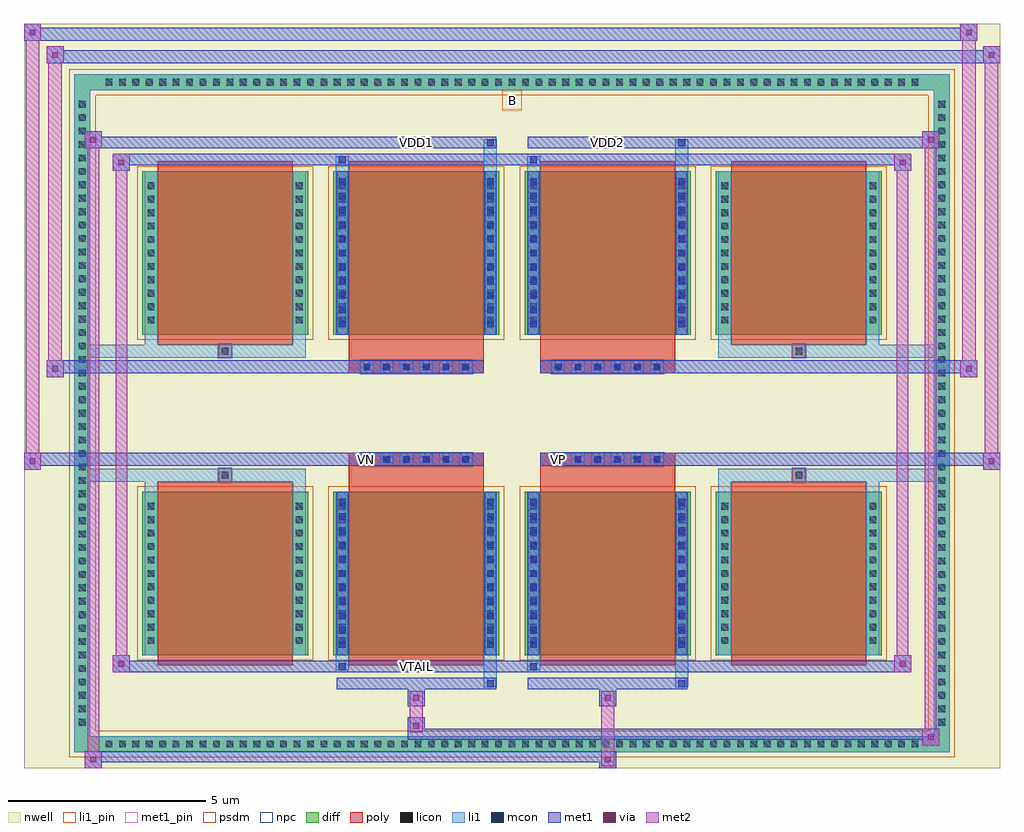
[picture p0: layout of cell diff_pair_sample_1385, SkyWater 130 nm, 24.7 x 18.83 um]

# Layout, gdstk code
import gdstk
lib = gdstk.Library(unit=1e-6, precision=5e-09)
def R(c, l, rs):  # rectangles x0, y0, x1, y1
    for r in rs: c.add(gdstk.rectangle(r[:2], r[2:], *l))
def A(c, l, x, y, w, h, nx, ny, dx, dy):  # array of equal rectangles
    R(c, l, [(x+i*dx, y+j*dy, x+i*dx+w, y+j*dy+h) for i in range(nx) for j in range(ny)])
def P(c, l, *ps):  # polygons
    for p in ps: c.add(gdstk.Polygon(p, *l))
nwell = (64, 20)
diff = (65, 20)
poly = (66, 20)
licon = (66, 44)
li1_pin = (67, 16)
li1 = (67, 20)
mcon = (67, 44)
met1_pin = (68, 16)
met1 = (68, 20)
via = (68, 44)
met2 = (69, 20)
psdm = (94, 20)
npc = (95, 20)

diff_pair_sample_1385 = lib.new_cell('diff_pair_sample_1385')
R(diff_pair_sample_1385, nwell, [(-12.35,-8.98,12.35,9.85), (-9.67,-7.17,-0.01,-0.805), (0.01,-7.17,9.67,-0.805), (-9.67,0.805,-0.01,7.17), (0.01,0.805,9.67,7.17)])
A(diff_pair_sample_1385, diff, -10.405, -8.58, 0.41, 0.41, 61, 2, 0.34, 16.75)
A(diff_pair_sample_1385, diff, -11.08, -8.025, 0.41, 0.41, 1, 47, 0, 0.34)
A(diff_pair_sample_1385, diff, 10.67, -8.025, 0.41, 0.41, 1, 47, 0, 0.34)
A(diff_pair_sample_1385, diff, -9.36, -6.125, 4.2, 4.14, 4, 2, 4.84, 8.11)
R(diff_pair_sample_1385, diff, [(-10.405,-8.58,10.405,-8.17), (-11.08,-8.025,-10.67,8.025), (10.67,-8.025,11.08,8.025), (-10.405,8.17,10.405,8.58)])
P(diff_pair_sample_1385, diff, [(11.08,8.58),(-11.08,8.58),(-11.08,-8.17),(-10.67,-8.17),(-10.67,8.17),(10.67,8.17),(10.67,-8.17),(-10.67,-8.17),(-11.08,-8.17),(-11.08,-8.58),(11.08,-8.58)])
A(diff_pair_sample_1385, poly, -8.97, -6.375, 3.42, 4.64, 4, 2, 4.84, 8.11)
A(diff_pair_sample_1385, poly, -3.835, -1.335, 0.33, 0.33, 6, 2, 0.5, 2.34)
A(diff_pair_sample_1385, poly, 1.005, -1.335, 0.33, 0.33, 6, 2, 0.5, 2.34)
R(diff_pair_sample_1385, poly, [(-7.425,-1.735,-7.095,-1.405), (-7.425,-1.735,-7.095,-1.405), (-4.13,-1.735,-0.71,-1.335), (0.71,-1.735,4.13,-1.335), (7.095,-1.735,7.425,-1.405), (7.095,-1.735,7.425,-1.405), (-4.13,-1.335,-0.71,-1.005), (0.71,-1.335,4.13,-1.005), (-4.13,1.005,-0.71,1.335), (0.71,1.005,4.13,1.335), (-4.13,1.335,-0.71,1.735), (0.71,1.335,4.13,1.735), (-7.425,1.405,-7.095,1.735), (-7.425,1.405,-7.095,1.735), (7.095,1.405,7.425,1.735), (7.095,1.405,7.425,1.735)])
A(diff_pair_sample_1385, licon, -10.285, -8.46, 0.17, 0.17, 61, 2, 0.34, 16.75)
A(diff_pair_sample_1385, licon, -10.96, -7.905, 0.17, 0.17, 1, 47, 0, 0.34)
A(diff_pair_sample_1385, licon, 10.79, -7.905, 0.17, 0.17, 1, 47, 0, 0.34)
A(diff_pair_sample_1385, licon, -9.22, -5.84, 0.17, 0.17, 1, 11, 0, 0.34)
A(diff_pair_sample_1385, licon, -5.47, -5.84, 0.17, 0.17, 1, 11, 0, 0.34)
A(diff_pair_sample_1385, licon, -4.38, -5.84, 0.17, 0.17, 1, 11, 0, 0.34)
A(diff_pair_sample_1385, licon, -0.63, -5.84, 0.17, 0.17, 1, 11, 0, 0.34)
A(diff_pair_sample_1385, licon, 0.46, -5.84, 0.17, 0.17, 1, 11, 0, 0.34)
A(diff_pair_sample_1385, licon, 4.21, -5.84, 0.17, 0.17, 1, 11, 0, 0.34)
A(diff_pair_sample_1385, licon, 5.3, -5.84, 0.17, 0.17, 1, 11, 0, 0.34)
A(diff_pair_sample_1385, licon, 9.05, -5.84, 0.17, 0.17, 1, 11, 0, 0.34)
A(diff_pair_sample_1385, licon, -3.755, -1.255, 0.17, 0.17, 6, 2, 0.5, 2.34)
A(diff_pair_sample_1385, licon, 1.085, -1.255, 0.17, 0.17, 6, 2, 0.5, 2.34)
A(diff_pair_sample_1385, licon, -9.22, 2.27, 0.17, 0.17, 1, 11, 0, 0.34)
A(diff_pair_sample_1385, licon, -5.47, 2.27, 0.17, 0.17, 1, 11, 0, 0.34)
A(diff_pair_sample_1385, licon, -4.38, 2.27, 0.17, 0.17, 1, 11, 0, 0.34)
A(diff_pair_sample_1385, licon, -0.63, 2.27, 0.17, 0.17, 1, 11, 0, 0.34)
A(diff_pair_sample_1385, licon, 0.46, 2.27, 0.17, 0.17, 1, 11, 0, 0.34)
A(diff_pair_sample_1385, licon, 4.21, 2.27, 0.17, 0.17, 1, 11, 0, 0.34)
A(diff_pair_sample_1385, licon, 5.3, 2.27, 0.17, 0.17, 1, 11, 0, 0.34)
A(diff_pair_sample_1385, licon, 9.05, 2.27, 0.17, 0.17, 1, 11, 0, 0.34)
R(diff_pair_sample_1385, licon, [(-7.345,-1.655,-7.175,-1.485), (7.175,-1.655,7.345,-1.485), (-7.345,1.485,-7.175,1.655), (7.175,1.485,7.345,1.655)])
R(diff_pair_sample_1385, li1_pin, [(-0.25,7.67,0.25,8.17)])
A(diff_pair_sample_1385, li1, -10.365, -8.54, 0.33, 0.33, 61, 2, 0.34, 16.75)
A(diff_pair_sample_1385, li1, -11.04, -7.985, 0.33, 0.33, 1, 47, 0, 0.34)
A(diff_pair_sample_1385, li1, 10.71, -7.985, 0.33, 0.33, 1, 47, 0, 0.34)
A(diff_pair_sample_1385, li1, -4.38, -5.94, 0.17, 0.17, 1, 11, 0, 0.36)
A(diff_pair_sample_1385, li1, -0.63, -5.94, 0.17, 0.17, 1, 11, 0, 0.36)
A(diff_pair_sample_1385, li1, 0.46, -5.94, 0.17, 0.17, 1, 11, 0, 0.36)
A(diff_pair_sample_1385, li1, 4.21, -5.94, 0.17, 0.17, 1, 11, 0, 0.36)
A(diff_pair_sample_1385, li1, -9.3, -5.92, 0.33, 0.33, 1, 11, 0, 0.34)
A(diff_pair_sample_1385, li1, -5.55, -5.92, 0.33, 0.33, 1, 11, 0, 0.34)
A(diff_pair_sample_1385, li1, -4.46, -5.92, 0.33, 0.33, 1, 11, 0, 0.34)
A(diff_pair_sample_1385, li1, -0.71, -5.92, 0.33, 0.33, 1, 11, 0, 0.34)
A(diff_pair_sample_1385, li1, 0.38, -5.92, 0.33, 0.33, 1, 11, 0, 0.34)
A(diff_pair_sample_1385, li1, 4.13, -5.92, 0.33, 0.33, 1, 11, 0, 0.34)
A(diff_pair_sample_1385, li1, 5.22, -5.92, 0.33, 0.33, 1, 11, 0, 0.34)
A(diff_pair_sample_1385, li1, 8.97, -5.92, 0.33, 0.33, 1, 11, 0, 0.34)
A(diff_pair_sample_1385, li1, -3.835, -1.335, 0.33, 0.33, 6, 2, 0.5, 2.34)
A(diff_pair_sample_1385, li1, 1.005, -1.335, 0.33, 0.33, 6, 2, 0.5, 2.34)
A(diff_pair_sample_1385, li1, -4.38, 2.17, 0.17, 0.17, 1, 11, 0, 0.36)
A(diff_pair_sample_1385, li1, -0.63, 2.17, 0.17, 0.17, 1, 11, 0, 0.36)
A(diff_pair_sample_1385, li1, 0.46, 2.17, 0.17, 0.17, 1, 11, 0, 0.36)
A(diff_pair_sample_1385, li1, 4.21, 2.17, 0.17, 0.17, 1, 11, 0, 0.36)
A(diff_pair_sample_1385, li1, -9.3, 2.19, 0.33, 0.33, 1, 11, 0, 0.34)
A(diff_pair_sample_1385, li1, -5.55, 2.19, 0.33, 0.33, 1, 11, 0, 0.34)
A(diff_pair_sample_1385, li1, -4.46, 2.19, 0.33, 0.33, 1, 11, 0, 0.34)
A(diff_pair_sample_1385, li1, -0.71, 2.19, 0.33, 0.33, 1, 11, 0, 0.34)
A(diff_pair_sample_1385, li1, 0.38, 2.19, 0.33, 0.33, 1, 11, 0, 0.34)
A(diff_pair_sample_1385, li1, 4.13, 2.19, 0.33, 0.33, 1, 11, 0, 0.34)
A(diff_pair_sample_1385, li1, 5.22, 2.19, 0.33, 0.33, 1, 11, 0, 0.34)
A(diff_pair_sample_1385, li1, 8.97, 2.19, 0.33, 0.33, 1, 11, 0, 0.34)
R(diff_pair_sample_1385, li1, [(-11.08,-8.58,-10.67,-8.17), (-11.08,-8.58,-10.67,-8.17), (-10.67,-8.58,10.67,-8.17), (10.67,-8.58,11.08,-8.17), (10.67,-8.58,11.08,-8.17), (-11.08,-8.17,-10.67,8.17), (10.67,-8.17,11.08,8.17), (-0.71,-6.93,-0.38,-6.125), (-0.63,-6.93,-0.46,-6.76), (4.13,-6.93,4.46,-6.125), (4.21,-6.93,4.38,-6.76), (-4.46,-6.5,-4.13,-6.125), (-4.38,-6.5,-4.21,-6.33), (0.38,-6.5,0.71,-6.125), (0.46,-6.5,0.63,-6.33), (-9.3,-6.125,-8.97,-1.985), (-5.55,-6.125,-5.22,-1.985), (-4.46,-6.125,-4.13,-1.985), (-0.71,-6.125,-0.38,-1.985), (0.38,-6.125,0.71,-1.985), (4.13,-6.125,4.46,-1.985), (5.22,-6.125,5.55,-1.985), (8.97,-6.125,9.3,-1.985), (-4.38,-5.94,-4.21,-2.17), (-0.63,-5.94,-0.46,-2.17), (0.46,-5.94,0.63,-2.17), (4.21,-5.94,4.38,-2.17), (-9.3,-1.985,-8.97,-1.405), (-5.55,-1.985,-5.22,-1.405), (5.22,-1.985,5.55,-1.405), (8.97,-1.985,9.3,-1.405), (-11.08,-1.735,-7.425,-1.405), (-9.3,-1.735,-7.425,-1.405), (-7.425,-1.735,-7.095,-1.405), (-7.095,-1.735,-5.22,-1.405), (5.22,-1.735,7.095,-1.405), (7.095,-1.735,7.425,-1.405), (7.095,-1.735,11.08,-1.405), (7.425,-1.735,9.3,-1.405), (-11.08,1.405,-7.425,1.735), (-9.3,1.405,-7.425,1.735), (-9.3,1.405,-8.97,1.985), (-7.425,1.405,-7.095,1.735), (-7.095,1.405,-5.22,1.735), (-5.55,1.405,-5.22,1.985), (5.22,1.405,7.095,1.735), (5.22,1.405,5.55,1.985), (7.095,1.405,7.425,1.735), (7.095,1.405,11.08,1.735), (7.425,1.405,9.3,1.735), (8.97,1.405,9.3,1.985), (-9.3,1.985,-8.97,6.125), (-5.55,1.985,-5.22,6.125), (-4.46,1.985,-4.13,6.125), (-0.71,1.985,-0.38,6.125), (0.38,1.985,0.71,6.125), (4.13,1.985,4.46,6.125), (5.22,1.985,5.55,6.125), (8.97,1.985,9.3,6.125), (-4.38,2.17,-4.21,5.94), (-0.63,2.17,-0.46,5.94), (0.46,2.17,0.63,5.94), (4.21,2.17,4.38,5.94), (-4.46,6.125,-4.13,6.5), (-0.71,6.125,-0.38,6.93), (0.38,6.125,0.71,6.5), (4.13,6.125,4.46,6.93), (-4.38,6.33,-4.21,6.5), (0.46,6.33,0.63,6.5), (-0.63,6.76,-0.46,6.93), (4.21,6.76,4.38,6.93), (-11.08,8.17,-10.67,8.58), (-11.08,8.17,-10.67,8.58), (-10.67,8.17,10.67,8.58), (10.67,8.17,11.08,8.58), (10.67,8.17,11.08,8.58)])
A(diff_pair_sample_1385, mcon, -4.38, -5.94, 0.17, 0.17, 1, 11, 0, 0.36)
A(diff_pair_sample_1385, mcon, -0.63, -5.94, 0.17, 0.17, 1, 11, 0, 0.36)
A(diff_pair_sample_1385, mcon, 0.46, -5.94, 0.17, 0.17, 1, 11, 0, 0.36)
A(diff_pair_sample_1385, mcon, 4.21, -5.94, 0.17, 0.17, 1, 11, 0, 0.36)
A(diff_pair_sample_1385, mcon, -3.755, -1.255, 0.17, 0.17, 6, 2, 0.5, 2.34)
A(diff_pair_sample_1385, mcon, 1.085, -1.255, 0.17, 0.17, 6, 2, 0.5, 2.34)
A(diff_pair_sample_1385, mcon, -4.38, 2.17, 0.17, 0.17, 1, 11, 0, 0.36)
A(diff_pair_sample_1385, mcon, -0.63, 2.17, 0.17, 0.17, 1, 11, 0, 0.36)
A(diff_pair_sample_1385, mcon, 0.46, 2.17, 0.17, 0.17, 1, 11, 0, 0.36)
A(diff_pair_sample_1385, mcon, 4.21, 2.17, 0.17, 0.17, 1, 11, 0, 0.36)
R(diff_pair_sample_1385, mcon, [(-0.63,-6.93,-0.46,-6.76), (4.21,-6.93,4.38,-6.76), (-4.38,-6.5,-4.21,-6.33), (0.46,-6.5,0.63,-6.33), (-4.38,6.33,-4.21,6.5), (0.46,6.33,0.63,6.5), (-0.63,6.76,-0.46,6.93), (4.21,6.76,4.38,6.93)])
R(diff_pair_sample_1385, met1_pin, [(-2.555,-6.54,-2.285,-6.27), (-3.805,-1.295,-3.535,-1.025), (1.035,-1.295,1.305,-1.025), (-2.555,6.72,-2.285,6.99), (2.285,6.72,2.555,6.99)])
A(diff_pair_sample_1385, met1, -4.44, -6, 0.29, 0.29, 1, 11, 0, 0.36)
A(diff_pair_sample_1385, met1, -0.69, -6, 0.29, 0.29, 1, 11, 0, 0.36)
A(diff_pair_sample_1385, met1, 0.4, -6, 0.29, 0.29, 1, 11, 0, 0.36)
A(diff_pair_sample_1385, met1, 4.15, -6, 0.29, 0.29, 1, 11, 0, 0.36)
A(diff_pair_sample_1385, met1, -3.815, -1.315, 0.29, 0.29, 6, 2, 0.5, 2.34)
A(diff_pair_sample_1385, met1, 1.025, -1.315, 0.29, 0.29, 6, 2, 0.5, 2.34)
A(diff_pair_sample_1385, met1, -4.44, 2.11, 0.29, 0.29, 1, 11, 0, 0.36)
A(diff_pair_sample_1385, met1, -0.69, 2.11, 0.29, 0.29, 1, 11, 0, 0.36)
A(diff_pair_sample_1385, met1, 0.4, 2.11, 0.29, 0.29, 1, 11, 0, 0.36)
A(diff_pair_sample_1385, met1, 4.15, 2.11, 0.29, 0.29, 1, 11, 0, 0.36)
R(diff_pair_sample_1385, met1, [(-10.81,-8.98,-10.38,-8.55), (2.205,-8.98,2.635,-8.55), (-10.81,-8.84,2.635,-8.55), (10.38,-8.41,10.81,-7.98), (-2.635,-8.27,10.81,-7.98), (-2.635,-8.13,-2.205,-7.7), (-2.635,-7.42,-2.205,-6.99), (2.205,-7.42,2.635,-6.99), (-4.44,-6.99,-0.4,-6.7), (-0.69,-6.99,-0.4,-6.7), (0.4,-6.99,4.44,-6.7), (4.15,-6.99,4.44,-6.7), (-10.1,-6.56,-9.67,-6.13), (-10.1,-6.56,-4.44,-6.27), (-4.44,-6.56,-4.15,-6.27), (-4.44,-6.56,-0.4,-6.27), (-0.4,-6.56,0.4,-6.27), (0.4,-6.56,0.69,-6.27), (0.4,-6.56,4.44,-6.27), (4.44,-6.56,10.1,-6.27), (9.67,-6.56,10.1,-6.13), (-4.44,-6.125,-4.15,-1.985), (-0.69,-6.125,-0.4,-1.985), (0.4,-6.125,0.69,-1.985), (4.15,-6.125,4.44,-1.985), (-12.35,-1.435,-11.92,-1.005), (11.92,-1.435,12.35,-1.005), (-12.35,-1.335,-0.71,-1.005), (-4.13,-1.335,-0.71,-1.005), (0.71,-1.335,4.13,-1.005), (0.71,-1.335,12.35,-1.005), (-11.78,0.905,-11.35,1.335), (11.35,0.905,11.78,1.335), (-11.78,1.005,-4.13,1.335), (-4.13,1.005,-0.71,1.335), (0.71,1.005,4.13,1.335), (4.13,1.005,11.78,1.335), (-4.44,1.985,-4.15,6.125), (-0.69,1.985,-0.4,6.125), (0.4,1.985,0.69,6.125), (4.15,1.985,4.44,6.125), (-10.1,6.13,-9.67,6.56), (9.67,6.13,10.1,6.56), (-10.1,6.27,-4.44,6.56), (-4.44,6.27,-4.15,6.56), (-4.44,6.27,-0.4,6.56), (-0.4,6.27,0.4,6.56), (0.4,6.27,0.69,6.56), (0.4,6.27,4.44,6.56), (4.44,6.27,10.1,6.56), (-10.81,6.7,-10.38,7.13), (-10.81,6.7,-4.44,6.99), (-4.44,6.7,-0.4,6.99), (-0.69,6.7,-0.4,6.99), (0.4,6.7,4.44,6.99), (4.15,6.7,4.44,6.99), (4.44,6.7,10.81,6.99), (10.38,6.7,10.81,7.13), (-11.78,8.85,-11.35,9.28), (-11.78,8.85,-9.67,9.18), (-9.67,8.85,9.67,9.18), (9.67,8.85,12.35,9.18), (11.92,8.85,12.35,9.28), (-12.35,9.42,-11.92,9.85), (-12.35,9.42,-9.67,9.75), (-9.67,9.42,9.67,9.75), (9.67,9.42,11.78,9.75), (11.35,9.42,11.78,9.85)])
R(diff_pair_sample_1385, via, [(-10.67,-8.84,-10.52,-8.69), (2.345,-8.84,2.495,-8.69), (10.52,-8.27,10.67,-8.12), (-2.495,-7.99,-2.345,-7.84), (-2.495,-7.28,-2.345,-7.13), (2.345,-7.28,2.495,-7.13), (-9.96,-6.42,-9.81,-6.27), (9.81,-6.42,9.96,-6.27), (-12.21,-1.295,-12.06,-1.145), (12.06,-1.295,12.21,-1.145), (-11.64,1.045,-11.49,1.195), (11.49,1.045,11.64,1.195), (-9.96,6.27,-9.81,6.42), (9.81,6.27,9.96,6.42), (-10.67,6.84,-10.52,6.99), (10.52,6.84,10.67,6.99), (-11.64,8.99,-11.49,9.14), (12.06,8.99,12.21,9.14), (-12.21,9.56,-12.06,9.71), (11.49,9.56,11.64,9.71)])
R(diff_pair_sample_1385, met2, [(-10.81,-8.98,-10.38,-8.55), (-10.74,-8.98,-10.45,7.13), (-10.45,-8.98,-10.38,-8.55), (-10.76,-8.93,-10.43,-8.6), (2.255,-8.93,2.585,-8.6), (2.255,-8.6,2.585,-7.37), (10.38,-8.41,10.81,-7.98), (10.45,-8.41,10.74,7.13), (10.74,-8.41,10.81,-7.98), (10.43,-8.36,10.76,-8.03), (-2.585,-8.08,-2.255,-7.75), (-2.585,-7.75,-2.255,-7.37), (-2.585,-7.37,-2.255,-7.04), (2.255,-7.37,2.585,-7.04), (-10.1,-6.56,-9.67,-6.13), (-10.03,-6.56,-9.74,6.56), (-9.74,-6.56,-9.67,-6.13), (9.67,-6.56,10.1,-6.13), (9.74,-6.56,10.03,6.56), (10.03,-6.56,10.1,-6.13), (-10.05,-6.51,-9.72,-6.18), (9.72,-6.51,10.05,-6.18), (-12.35,-1.435,-11.92,-1.005), (-12.3,-1.435,-11.97,9.85), (-11.97,-1.435,-11.92,-1.005), (11.92,-1.435,12.35,-1.005), (11.97,-1.435,12.3,9.28), (12.3,-1.435,12.35,-1.005), (-12.3,-1.385,-11.97,-1.055), (11.97,-1.385,12.3,-1.055), (-11.78,0.905,-11.35,1.335), (-11.73,0.905,-11.4,9.28), (-11.4,0.905,-11.35,1.335), (11.35,0.905,11.78,1.335), (11.4,0.905,11.73,9.85), (11.73,0.905,11.78,1.335), (-11.73,0.955,-11.4,1.285), (11.4,0.955,11.73,1.285), (-10.1,6.13,-9.67,6.56), (-9.74,6.13,-9.67,6.56), (9.67,6.13,10.1,6.56), (10.03,6.13,10.1,6.56), (-10.05,6.18,-9.72,6.51), (9.72,6.18,10.05,6.51), (-10.81,6.7,-10.38,7.13), (-10.45,6.7,-10.38,7.13), (10.38,6.7,10.81,7.13), (10.74,6.7,10.81,7.13), (-10.76,6.75,-10.43,7.08), (10.43,6.75,10.76,7.08), (-11.78,8.85,-11.35,9.28), (-11.4,8.85,-11.35,9.28), (11.92,8.85,12.35,9.28), (12.3,8.85,12.35,9.28), (-11.73,8.9,-11.4,9.23), (11.97,8.9,12.3,9.23), (-12.35,9.42,-11.92,9.85), (-11.97,9.42,-11.92,9.85), (11.35,9.42,11.78,9.85), (11.73,9.42,11.78,9.85), (-12.3,9.47,-11.97,9.8), (11.4,9.47,11.73,9.8)])
A(diff_pair_sample_1385, psdm, -9.49, -6.255, 4.46, 4.4, 4, 2, 4.84, 8.11)
P(diff_pair_sample_1385, psdm, [(11.21,8.71),(-11.21,8.71),(-11.21,-8.04),(-10.54,-8.04),(-10.54,8.04),(10.54,8.04),(10.54,-8.04),(-10.54,-8.04),(-11.21,-8.04),(-11.21,-8.71),(11.21,-8.71)])
A(diff_pair_sample_1385, npc, -3.855, -1.355, 0.37, 0.37, 6, 2, 0.5, 2.34)
A(diff_pair_sample_1385, npc, 0.985, -1.355, 0.37, 0.37, 6, 2, 0.5, 2.34)
R(diff_pair_sample_1385, npc, [(-7.445,-1.755,-7.075,-1.385), (7.075,-1.755,7.445,-1.385), (-3.855,-1.355,-2.985,-0.985), (-3.855,-1.355,-2.985,-0.985), (-3.355,-1.355,-2.485,-0.985), (-3.355,-1.355,-2.485,-0.985), (-2.855,-1.355,-1.985,-0.985), (-2.855,-1.355,-1.985,-0.985), (-2.355,-1.355,-1.485,-0.985), (-2.355,-1.355,-1.485,-0.985), (-1.855,-1.355,-0.985,-0.985), (-1.855,-1.355,-0.985,-0.985), (0.985,-1.355,1.855,-0.985), (0.985,-1.355,1.855,-0.985), (1.485,-1.355,2.355,-0.985), (1.485,-1.355,2.355,-0.985), (1.985,-1.355,2.855,-0.985), (1.985,-1.355,2.855,-0.985), (2.485,-1.355,3.355,-0.985), (2.485,-1.355,3.355,-0.985), (2.985,-1.355,3.855,-0.985), (2.985,-1.355,3.855,-0.985), (-3.855,0.985,-2.985,1.355), (-3.855,0.985,-2.985,1.355), (-3.355,0.985,-2.485,1.355), (-3.355,0.985,-2.485,1.355), (-2.855,0.985,-1.985,1.355), (-2.855,0.985,-1.985,1.355), (-2.355,0.985,-1.485,1.355), (-2.355,0.985,-1.485,1.355), (-1.855,0.985,-0.985,1.355), (-1.855,0.985,-0.985,1.355), (0.985,0.985,1.855,1.355), (0.985,0.985,1.855,1.355), (1.485,0.985,2.355,1.355), (1.485,0.985,2.355,1.355), (1.985,0.985,2.855,1.355), (1.985,0.985,2.855,1.355), (2.485,0.985,3.355,1.355), (2.485,0.985,3.355,1.355), (2.985,0.985,3.855,1.355), (2.985,0.985,3.855,1.355), (-7.445,1.385,-7.075,1.755), (7.075,1.385,7.445,1.755)])
diff_pair_sample_1385.add(gdstk.Label('VTAIL', (-2.42,-6.405), layer=68, texttype=5))
diff_pair_sample_1385.add(gdstk.Label('VN', (-3.67,-1.16), layer=68, texttype=5))
diff_pair_sample_1385.add(gdstk.Label('VP', (1.17,-1.16), layer=68, texttype=5))
diff_pair_sample_1385.add(gdstk.Label('B', (0,7.92), layer=67, texttype=5))
diff_pair_sample_1385.add(gdstk.Label('VDD2', (2.42,6.855), layer=68, texttype=5))
diff_pair_sample_1385.add(gdstk.Label('VDD1', (-2.42,6.855), layer=68, texttype=5))

lib.write_gds('diff_pair_sample_1385.gds')
